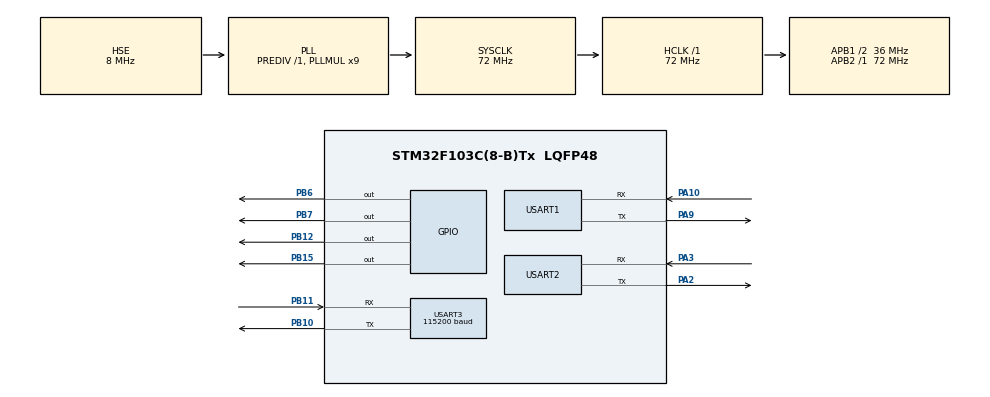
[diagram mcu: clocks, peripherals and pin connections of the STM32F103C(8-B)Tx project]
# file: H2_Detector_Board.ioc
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IWDG.Prescaler=IWDG_PRESCALER_64
Mcu.Family=STM32F1
Mcu.Name=STM32F103C(8-B)Tx
Mcu.Package=LQFP48
NVIC.PriorityGroup=NVIC_PRIORITYGROUP_4
NVIC.TIM2_IRQn=true\:0\:0\:true\:false\:true\:true\:true\:true
NVIC.USART1_IRQn=true\:0\:0\:false\:false\:true\:true\:true\:true
NVIC.USART3_IRQn=true\:0\:0\:false\:false\:true\:true\:true\:true
PA10.Mode=Asynchronous
PA10.Signal=USART1_RX
PA13.Mode=Serial_Wire
PA13.Signal=SYS_JTMS-SWDIO
PA14.Mode=Serial_Wire
PA14.Signal=SYS_JTCK-SWCLK
PA2.Mode=Asynchronous
PA2.Signal=USART2_TX
PA3.Mode=Asynchronous
PA3.Signal=USART2_RX
PA9.Mode=Asynchronous
PA9.Signal=USART1_TX
PB10.Mode=Asynchronous
PB10.Signal=USART3_TX
PB11.Mode=Asynchronous
PB11.Signal=USART3_RX
PB12.Signal=GPIO_Output
PB15.Signal=GPIO_Output
PB6.Signal=GPIO_Output
PB7.Signal=GPIO_Output
PD0-OSC_IN.Mode=HSE-External-Oscillator
PD0-OSC_IN.Signal=RCC_OSC_IN
PD1-OSC_OUT.Mode=HSE-External-Oscillator
PD1-OSC_OUT.Signal=RCC_OSC_OUT
ProjectManager.HeapSize=0x200
ProjectManager.StackSize=0x400
ProjectManager.TargetToolchain=STM32CubeIDE
RCC.ADCPresc=RCC_ADCPCLK2_DIV8
RCC.AHBFreq_Value=72000000
RCC.APB1CLKDivider=RCC_HCLK_DIV2
RCC.APB1Freq_Value=36000000
RCC.APB1TimFreq_Value=72000000
RCC.APB2Freq_Value=72000000
RCC.APB2TimFreq_Value=72000000
RCC.HCLKFreq_Value=72000000
RCC.PLLMUL=RCC_PLL_MUL9
RCC.PLLSourceVirtual=RCC_PLLSOURCE_HSE
RCC.SYSCLKFreq_VALUE=72000000
RCC.SYSCLKSource=RCC_SYSCLKSOURCE_PLLCLK
RCC.USBFreq_Value=72000000
TIM2.AutoReloadPreload=TIM_AUTORELOAD_PRELOAD_ENABLE
TIM2.Period=999
TIM2.Prescaler=71
USART1.VirtualMode=VM_ASYNC
USART2.VirtualMode=VM_ASYNC
USART3.BaudRate=115200
USART3.VirtualMode=VM_ASYNC
VP_IWDG_VS_IWDG.Mode=IWDG_Activate
VP_TIM2_VS_ClockSourceINT.Mode=Internal
board=custom

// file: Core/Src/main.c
/* USER CODE BEGIN Header */
/**
  ******************************************************************************
  * @file           : main.c
  * @brief          : Main program body
  ******************************************************************************
  * @attention
  *
  * <h2><center>&copy; Copyright (c) 2021 STMicroelectronics.
  * All rights reserved.</center></h2>
  *
  * This software component is licensed by ST under BSD 3-Clause license,
  * the "License"; You may not use this file except in compliance with the
  * License. You may obtain a copy of the License at:
  *                        opensource.org/licenses/BSD-3-Clause
  *
  ******************************************************************************
  */
/* USER CODE END Header */
#include "main.h"

/* USER CODE BEGIN Includes */
#include <string.h>
#include <stdio.h>
#include <stdlib.h>
#include <math.h>
/* USER CODE END Includes */

/* USER CODE BEGIN PTD */
#define RING_SIZE 50
#define BUF_SIZE  200

#define	SSID	"H2SENSOR"
#define	PASSWD	"xxxxxxxx"
#define PROTOCOL	"TCP"
#define SEV_IP	"192.168.0.5"

#define DEBUG   0
/* USER CODE END PTD */

/* USER CODE BEGIN PD */
#define DATA_SIZE  24
/* USER CODE END PD */

IWDG_HandleTypeDef hiwdg;

TIM_HandleTypeDef htim2;

UART_HandleTypeDef huart1;
UART_HandleTypeDef huart2;
UART_HandleTypeDef huart3;

/* USER CODE BEGIN PV */
//uint8_t slave_buffer_tx[]="This is slave tx data ";

/* USER CODE END PV */

void SystemClock_Config(void);
static void MX_GPIO_Init(void);
static void MX_TIM2_Init(void);
static void MX_USART3_UART_Init(void);
static void MX_USART1_UART_Init(void);
static void MX_USART2_UART_Init(void);
static void MX_IWDG_Init(void);

/* USER CODE BEGIN 0 */

unsigned int weather_count=0;
int overflow_flag=0;
int overflow_front_size=0;
uint8_t wh_flag=0;
uint8_t ret = 0;
uint8_t ready_flag=0;

uint32_t count=0;
uint32_t odd=0;
char buff_wh[100]={0,};
char parse[6][7]={0,};

uint32_t cnt=0;
uint32_t reset_cnt=0;
uint8_t rx_completed=0;
//uint8_t missing_count=0;

// for modbus request Address 32   {01}{03}{00}{20}{00}{02}{C5}{C1}  => {01}{03}{04}{00}{00}{7F}{80}{DB}{A3}
//uint8_t request[8]={0x01,0x03,0x00,0x20,0x00,0x02,0xc5,0xc1};   //resistor version
//uint8_t request[8]={0x01,0x03,0x00,0x1e,0x00,0x02,0xa4,0x0d};   // h2 voltage version
uint8_t request[8]={0x01,0x03,0x00,0x1c,0x00,0x02,0x05,0xcd};   // r2 voltage version
uint8_t vdata[9]={0,};

uint16_t txLen = 0;

uint8_t rcvFlag = 0;
uint8_t sndFlag = 0;

uint8_t rcvDat;
uint8_t rcvDat1;

uint8_t  ring_buffer[RING_SIZE];
uint32_t  ring_ptr_head = 0;
uint32_t  ring_ptr_tail = 0;

uint8_t  ring_buffer1[RING_SIZE];
uint32_t  ring_ptr_head1 = 0;
uint32_t  ring_ptr_tail1 = 0;

uint8_t h2_buffer[BUF_SIZE]={0,};
uint32_t value[2]={0,0};
uint8_t state=0;
uint8_t byte_count=0;
uint8_t ppm_data[20]={0,};
uint8_t data_count=0;
uint8_t emptyFlag =0;
uint8_t compare_cnt=0;

typedef union
{
	float fVal;
	unsigned long hex;
}H2VAL;

H2VAL h2_val;
uint16_t adc_val=3000;
char x_value[8]={0,};
char strADC[7]={0,};

float temp=0.0;
float humi=0.0;

void request_value(UART_HandleTypeDef *huart)
{

}

void increase_ptr(uint32_t * data_ptr)
{
    (* data_ptr)++;
    if(RING_SIZE <= (* data_ptr))
    {
        (* data_ptr) = 0;
    }
}

void Clean(void){
	for(int j=0;j< RING_SIZE; j++) ring_buffer[j]=0;
	ring_ptr_head = 0;
	ring_ptr_tail = 0;
}

void Clean1(void){
	for(int j=0;j< RING_SIZE; j++) ring_buffer1[j]=0;
	ring_ptr_head1 = 0;
	ring_ptr_tail1 = 0;
}

void EnQ(uint8_t data)
{
    ring_buffer[ring_ptr_head] = data;
    increase_ptr(&ring_ptr_head);
}

void EnQ_1(uint8_t data)
{
    ring_buffer1[ring_ptr_head1] = data;
    increase_ptr(&ring_ptr_head1);
}

uint8_t DeQ(void)
{

    uint8_t retVal = ring_buffer[ring_ptr_tail];
    increase_ptr(&ring_ptr_tail);

    return retVal;
}

uint8_t DeQ_1(void)
{
    uint8_t retVal = ring_buffer1[ring_ptr_tail1];
    increase_ptr(&ring_ptr_tail1);
    return retVal;
}

int _write(int file, unsigned char* p, int len)
{
	//HAL_UART_Transmit(&huart3, p, len, 10);
	return len;
}

void HAL_UART_RxCpltCallback(UART_HandleTypeDef *huart)
{
	if(huart -> Instance == huart1.Instance)
	{

		EnQ_1(rcvDat1);
		HAL_UART_Receive_IT(&huart1, &rcvDat1, 1);

	}

	if(huart -> Instance == huart3.Instance)
	{
		EnQ(rcvDat);
		HAL_UART_Receive_IT(&huart3, &rcvDat, 1);
	}

}

uint8_t compare(const char * str, uint8_t len){
	uint8_t result=0;

	char dat[20]={0,};
	for(int k=0;k<20;k++) dat[k]=0;
	//HAL_IWDG_Refresh(&hiwdg);
	while(!result){

		//if(DEBUG) HAL_UART_Transmit(&huart2,(uint8_t *)"*",1,HAL_MAX_DELAY);

    	if(DeQ()=='O'){
          dat[0]='O';

		  for(int i=0;i<len-1;i++){
			  dat[i+1]=DeQ();
	       }

		  if(!strncmp(str, dat, len)) result=1;
    	}
    	else continue;
     }
	 //HAL_IWDG_Refresh(&hiwdg);
	 return 1;
}

uint8_t compare_OK(const char * str, uint8_t len){
	uint8_t result=0;
	compare_cnt=0;

	char dat[20]={0,};
	for(int k=0;k<20;k++) dat[k]=0;
	//HAL_IWDG_Refresh(&hiwdg);
	while(!result){
		compare_cnt++;
		if(compare_cnt > 42){
			result=1;
			//missing_count++;
		}
		//if(DEBUG)HAL_UART_Transmit(&huart2,(uint8_t *)"*",1,HAL_MAX_DELAY);

    	if(DeQ()=='O'){
          dat[0]='O';

		  for(int i=0;i<len-1;i++){
			  dat[i+1]=DeQ();
	       }

		  if(!strncmp(str, dat, len)) result=1;
    	}
    	else continue;
     }
	 //HAL_IWDG_Refresh(&hiwdg);
	 return 1;
}

uint8_t parsing(){

	int len_buf=0;
	 // HAL_GPIO_WritePin(GPIOB, GPIO_PIN_12, GPIO_PIN_RESET);
    if(ring_ptr_head1 < ring_ptr_tail1)
	{
    	len_buf= RING_SIZE-ring_ptr_tail1;
		for(int i=0;i<len_buf; i++)
		 {
			h2_buffer[i]=DeQ_1();
			//HAL_UART_Transmit(&huart3,&h2_buffer[i],1,HAL_MAX_DELAY);
		 }
		overflow_flag=1;
		overflow_front_size=len_buf;
		len_buf=ring_ptr_head1;
		ring_ptr_tail1=0;
	}

	else
	{

		len_buf= (int)(ring_ptr_head1 - ring_ptr_tail1)/sizeof(uint8_t);

	}

   // HAL_IWDG_Refresh(&hiwdg);

	if(len_buf >= BUF_SIZE)
	{
	  for(int h=0;h<BUF_SIZE;h++)
	  {
		  h2_buffer[h]=0;
		  DeQ_1();
	  }
	  len_buf=0;
    }

	//memset(h2_buffer, 0, BUF_SIZE);

	for(int i=0;i<len_buf; i++)
	 {
		if(overflow_flag==1){
			h2_buffer[i+overflow_front_size]=DeQ_1();
			//if(DEBUG)HAL_UART_Transmit(&huart2,(uint8_t *)"ov\r\n",4,HAL_MAX_DELAY);
		}
		else{
			h2_buffer[i]=DeQ_1();
		}
	 }

	 // if(DEBUG)HAL_UART_Transmit(&huart2,(uint8_t *)"gg\r\n",4,HAL_MAX_DELAY);
}

void HAL_TIM_PeriodElapsedCallback(TIM_HandleTypeDef *htim)
{
	 count++;
     odd ^=1;
	 if(count > 500 ){
		 count=0;
		if(odd){
		  HAL_GPIO_WritePin(GPIOB, GPIO_PIN_6, GPIO_PIN_RESET);
		  Clean1();
		  HAL_GPIO_WritePin(GPIOB, GPIO_PIN_15, GPIO_PIN_SET);
 		  HAL_UART_Transmit(&huart1,(uint8_t *)request,8,HAL_MAX_DELAY);
 		  HAL_GPIO_WritePin(GPIOB, GPIO_PIN_15, GPIO_PIN_RESET);
			HAL_GPIO_WritePin(GPIOB, GPIO_PIN_7, GPIO_PIN_SET);
 		  count=0;
		}
		else{
			HAL_GPIO_WritePin(GPIOB, GPIO_PIN_6, GPIO_PIN_SET);
			HAL_GPIO_WritePin(GPIOB, GPIO_PIN_7, GPIO_PIN_RESET);
			parsing();
		}
	 }

}

/* USER CODE END 0 */

int main(void)
{

  /* MCU Configuration--------------------------------------------------------*/

  /* Reset of all peripherals, Initializes the Flash interface and the Systick. */
  HAL_Init();

  /* Configure the system clock */
  SystemClock_Config();

  /* Initialize all configured peripherals */
  MX_GPIO_Init();
  MX_TIM2_Init();
  MX_USART3_UART_Init();
  MX_USART1_UART_Init();
  MX_USART2_UART_Init();
  MX_IWDG_Init();
  /* USER CODE BEGIN 2 */
  ready_flag=0;

  HAL_GPIO_WritePin(GPIOB, GPIO_PIN_12, GPIO_PIN_SET);
  HAL_GPIO_WritePin(GPIOB, GPIO_PIN_6, GPIO_PIN_SET);
  HAL_GPIO_WritePin(GPIOB, GPIO_PIN_7, GPIO_PIN_SET);
  HAL_TIM_Base_Start_IT(&htim2);

  //HAL_ADC_Start_DMA(&hadc1, value, 2);

  //sprintf(x_value,"%7d",adc_val);

  Clean();
  HAL_UART_Receive_IT(&huart3, &rcvDat, 1);
  HAL_UART_Receive_IT(&huart1, &rcvDat1, 1);

  Clean();
  //HAL_GPIO_WritePin(GPIOB, GPIO_PIN_15, GPIO_PIN_SET);
  //HAL_UART_Transmit(&huart1,(uint8_t *)"Initialize..\r\n",14,HAL_MAX_DELAY);
  //HAL_GPIO_WritePin(GPIOB, GPIO_PIN_15, GPIO_PIN_RESET);

  Clean();
  HAL_IWDG_Refresh(&hiwdg);
  HAL_UART_Transmit(&huart3,(uint8_t *)"AT+RST\r\n",8,HAL_MAX_DELAY);
  HAL_Delay(1000);
  HAL_IWDG_Refresh(&hiwdg);
  HAL_Delay(1000);
  HAL_IWDG_Refresh(&hiwdg);
  HAL_Delay(1000);
  HAL_IWDG_Refresh(&hiwdg);
  HAL_Delay(1000);
  HAL_IWDG_Refresh(&hiwdg);
  HAL_Delay(1000);
  HAL_IWDG_Refresh(&hiwdg);
  HAL_Delay(1000);
  HAL_IWDG_Refresh(&hiwdg);
  Clean();
  while(1){
  ret=0;
  Clean();
  //HAL_GPIO_WritePin(GPIOB, GPIO_PIN_15, GPIO_PIN_SET);
  //HAL_UART_Transmit(&huart1,(uint8_t *)"Sending AT..\r\n",14,HAL_MAX_DELAY);     // AT TEST
  //HAL_GPIO_WritePin(GPIOB, GPIO_PIN_15, GPIO_PIN_RESET);
  Clean();
  HAL_UART_Transmit(&huart3,(uint8_t *)"AT\r\n",4,HAL_MAX_DELAY);
  ret=compare("OK\r\n",4);
  if(ret) break;
  }
  HAL_GPIO_WritePin(GPIOB, GPIO_PIN_15, GPIO_PIN_SET);
  //HAL_UART_Transmit(&huart1,(uint8_t *)"AT OK!\r\n",8,HAL_MAX_DELAY);
  HAL_GPIO_WritePin(GPIOB, GPIO_PIN_15, GPIO_PIN_RESET);
  HAL_IWDG_Refresh(&hiwdg);
  HAL_Delay(200);

  HAL_IWDG_Refresh(&hiwdg);

  Clean();
  while(1){
  ret=0;
  //HAL_GPIO_WritePin(GPIOB, GPIO_PIN_15, GPIO_PIN_SET);
  //HAL_UART_Transmit(&huart1,(uint8_t *)"Setting Mode..\r\n",16,HAL_MAX_DELAY);    // Mode setting => station
  //HAL_GPIO_WritePin(GPIOB, GPIO_PIN_15, GPIO_PIN_RESET);
  Clean();
  HAL_UART_Transmit(&huart3,(uint8_t *)"AT+CWMODE=1\r\n",13,HAL_MAX_DELAY);
  HAL_IWDG_Refresh(&hiwdg);
  ret=compare("OK\r\n",4);
  if(ret) break;
  }
  //HAL_GPIO_WritePin(GPIOB, GPIO_PIN_15, GPIO_PIN_SET);
  //HAL_UART_Transmit(&huart1,(uint8_t *)"MODE OK!\r\n",10,HAL_MAX_DELAY);
  //HAL_GPIO_WritePin(GPIOB, GPIO_PIN_15, GPIO_PIN_RESET);
  HAL_Delay(200);

  HAL_IWDG_Refresh(&hiwdg);

  Clean();
  while(1){
  ret=0;
  char tmpData[40]={0,};
  //HAL_GPIO_WritePin(GPIOB, GPIO_PIN_15, GPIO_PIN_SET);
  // HAL_UART_Transmit(&huart1,(uint8_t *)"Connecting AP..\r\n",17,HAL_MAX_DELAY);
  //HAL_GPIO_WritePin(GPIOB, GPIO_PIN_15, GPIO_PIN_RESET);
  sprintf (tmpData, "AT+CWJAP_CUR=\"%s\",\"%s\"\r\n", SSID, PASSWD);    //AT+CWJAP_CUR="H2SENSOR","tsei1234"
  Clean();
  HAL_UART_Transmit(&huart3,(uint8_t *)tmpData,36,HAL_MAX_DELAY);
  ret=compare("OK\r\n",4);
  if(ret) break;
  }
  //HAL_GPIO_WritePin(GPIOB, GPIO_PIN_15, GPIO_PIN_SET);
 // HAL_UART_Transmit(&huart1,(uint8_t *)"Connect OK!\r\n",13,HAL_MAX_DELAY);
  //HAL_GPIO_WritePin(GPIOB, GPIO_PIN_15, GPIO_PIN_RESET);
  HAL_Delay(200);

  HAL_IWDG_Refresh(&hiwdg);

  Clean();
  while(1){
  ret=0;
  // HAL_GPIO_WritePin(GPIOB, GPIO_PIN_15, GPIO_PIN_SET);
  //HAL_UART_Transmit(&huart1,(uint8_t *)"Set Multiple..\r\n",16,HAL_MAX_DELAY);    // Mode setting => station
  //HAL_GPIO_WritePin(GPIOB, GPIO_PIN_15, GPIO_PIN_RESET);
  Clean();
  HAL_IWDG_Refresh(&hiwdg);
  HAL_UART_Transmit(&huart3,(uint8_t *)"AT+CIPMUX=0\r\n",13,HAL_MAX_DELAY);   // if multimode, link id is need when using sending commands
  ret=compare("OK\r\n",4);
  if(ret) break;
  }
  //HAL_GPIO_WritePin(GPIOB, GPIO_PIN_15, GPIO_PIN_SET);
 // HAL_UART_Transmit(&huart1,(uint8_t *)"Single OK!\r\n",12,HAL_MAX_DELAY);
  //HAL_GPIO_WritePin(GPIOB, GPIO_PIN_15, GPIO_PIN_RESET);
  HAL_Delay(100);

  HAL_IWDG_Refresh(&hiwdg);

  Clean();
  while(1){
  ret=0;
  char tmpStr[50]={0,};
  Clean();
  //HAL_GPIO_WritePin(GPIOB, GPIO_PIN_15, GPIO_PIN_SET);
  //HAL_UART_Transmit(&huart1,(uint8_t *)"SET TCP..\r\n",11,HAL_MAX_DELAY);
  //HAL_GPIO_WritePin(GPIOB, GPIO_PIN_15, GPIO_PIN_RESET);
  sprintf (tmpStr, "AT+CIPSTART=\"%s\",\"%s\",5000\r\n", PROTOCOL, SEV_IP);  //AT+CIPSTART=0,"TCP","192.168.0.5",3306\r\n
  Clean();
  HAL_IWDG_Refresh(&hiwdg);
  HAL_UART_Transmit(&huart3,(uint8_t *)tmpStr,38,HAL_MAX_DELAY);
  ret=compare("OK\r\n",4);
  if(ret) break;
  }
  HAL_IWDG_Refresh(&hiwdg);
  //HAL_GPIO_WritePin(GPIOB, GPIO_PIN_15, GPIO_PIN_SET);
  //HAL_UART_Transmit(&huart1,(uint8_t *)"TCP OK!\r\n",9,HAL_MAX_DELAY);
   //HAL_GPIO_WritePin(GPIOB, GPIO_PIN_15, GPIO_PIN_RESET);
  HAL_Delay(200);

  /* USER CODE END 2 */

  /* Infinite loop */
  while (1)
  {

    /* USER CODE BEGIN 3 */
	  //if(missing_count>10) while(1);
      HAL_IWDG_Refresh(&hiwdg);
	  Clean();

	  h2_val.hex = (h2_buffer[5] <<24) | (h2_buffer[6] << 16) | (h2_buffer[3] << 8) | (h2_buffer[4]) ;
	  sprintf(x_value,"%6.4f\r\n",(h2_val.fVal));  //3.2345   in terms of voltage value
	 // sprintf(x_value,"%7d\r\n",(h2_val.fVal));  //152445   in terms of sensor resister value

	  while(1){
		  ret=0;

		  //if(DEBUG)HAL_UART_Transmit(&huart2,(uint8_t *)"h1\r\n",4,HAL_MAX_DELAY);    // Mode setting => station

		  Clean();
		  HAL_UART_Transmit(&huart3,(uint8_t *)"AT+CIPSEND=6\r\n",14,HAL_MAX_DELAY);

		  //if(DEBUG)HAL_UART_Transmit(&huart2,(uint8_t *)"h2\r\n",4,HAL_MAX_DELAY);
		  while(DeQ()!='>'){
			if (ring_ptr_tail >= ring_ptr_head) break;
		 }
		  HAL_Delay(200);
		 // if(DEBUG)HAL_UART_Transmit(&huart2,(uint8_t *)"h3\r\n",4,HAL_MAX_DELAY);
		  HAL_IWDG_Refresh(&hiwdg);

		  Clean();
		  HAL_UART_Transmit(&huart3,(uint8_t *)x_value,8,HAL_MAX_DELAY);
		  HAL_GPIO_WritePin(GPIOB, GPIO_PIN_12, GPIO_PIN_RESET);

		  HAL_UART_Transmit(&huart2,(uint8_t *)x_value,8,HAL_MAX_DELAY);
		  HAL_Delay(300);
		  //if(DEBUG)HAL_UART_Transmit(&huart2,(uint8_t *)"h5\r\n",4,HAL_MAX_DELAY);
		  ret=compare_OK("OK\r\n",4);
		  //if(DEBUG)HAL_UART_Transmit(&huart2,(uint8_t *)"h6\r\n",4,HAL_MAX_DELAY);

		  HAL_GPIO_WritePin(GPIOB, GPIO_PIN_12, GPIO_PIN_SET);
		  if(ret) break;
       }

	  HAL_Delay(490);
  }
  /* USER CODE END 3 */
}

void SystemClock_Config(void)
{
  RCC_OscInitTypeDef RCC_OscInitStruct = {0};
  RCC_ClkInitTypeDef RCC_ClkInitStruct = {0};

  /** Initializes the RCC Oscillators according to the specified parameters
  * in the RCC_OscInitTypeDef structure.
  */
  RCC_OscInitStruct.OscillatorType = RCC_OSCILLATORTYPE_LSI|RCC_OSCILLATORTYPE_HSE;
  RCC_OscInitStruct.HSEState = RCC_HSE_ON;
  RCC_OscInitStruct.HSEPredivValue = RCC_HSE_PREDIV_DIV1;
  RCC_OscInitStruct.HSIState = RCC_HSI_ON;
  RCC_OscInitStruct.LSIState = RCC_LSI_ON;
  RCC_OscInitStruct.PLL.PLLState = RCC_PLL_ON;
  RCC_OscInitStruct.PLL.PLLSource = RCC_PLLSOURCE_HSE;
  RCC_OscInitStruct.PLL.PLLMUL = RCC_PLL_MUL9;
  if (HAL_RCC_OscConfig(&RCC_OscInitStruct) != HAL_OK)
  {
    Error_Handler();
  }
  /** Initializes the CPU, AHB and APB buses clocks
  */
  RCC_ClkInitStruct.ClockType = RCC_CLOCKTYPE_HCLK|RCC_CLOCKTYPE_SYSCLK
                              |RCC_CLOCKTYPE_PCLK1|RCC_CLOCKTYPE_PCLK2;
  RCC_ClkInitStruct.SYSCLKSource = RCC_SYSCLKSOURCE_PLLCLK;
  RCC_ClkInitStruct.AHBCLKDivider = RCC_SYSCLK_DIV1;
  RCC_ClkInitStruct.APB1CLKDivider = RCC_HCLK_DIV2;
  RCC_ClkInitStruct.APB2CLKDivider = RCC_HCLK_DIV1;

  if (HAL_RCC_ClockConfig(&RCC_ClkInitStruct, FLASH_LATENCY_2) != HAL_OK)
  {
    Error_Handler();
  }
}

static void MX_IWDG_Init(void)
{

  hiwdg.Instance = IWDG;
  hiwdg.Init.Prescaler = IWDG_PRESCALER_64;
  hiwdg.Init.Reload = 4095;
  if (HAL_IWDG_Init(&hiwdg) != HAL_OK)
  {
    Error_Handler();
  }

}

static void MX_TIM2_Init(void)
{

  TIM_ClockConfigTypeDef sClockSourceConfig = {0};
  TIM_MasterConfigTypeDef sMasterConfig = {0};

  htim2.Instance = TIM2;
  htim2.Init.Prescaler = 71;
  htim2.Init.CounterMode = TIM_COUNTERMODE_UP;
  htim2.Init.Period = 999;
  htim2.Init.ClockDivision = TIM_CLOCKDIVISION_DIV1;
  htim2.Init.AutoReloadPreload = TIM_AUTORELOAD_PRELOAD_ENABLE;
  if (HAL_TIM_Base_Init(&htim2) != HAL_OK)
  {
    Error_Handler();
  }
  sClockSourceConfig.ClockSource = TIM_CLOCKSOURCE_INTERNAL;
  if (HAL_TIM_ConfigClockSource(&htim2, &sClockSourceConfig) != HAL_OK)
  {
    Error_Handler();
  }
  sMasterConfig.MasterOutputTrigger = TIM_TRGO_RESET;
  sMasterConfig.MasterSlaveMode = TIM_MASTERSLAVEMODE_DISABLE;
  if (HAL_TIMEx_MasterConfigSynchronization(&htim2, &sMasterConfig) != HAL_OK)
  {
    Error_Handler();
  }

}

static void MX_USART1_UART_Init(void)
{

  huart1.Instance = USART1;
  huart1.Init.BaudRate = 115200;
  huart1.Init.WordLength = UART_WORDLENGTH_8B;
  huart1.Init.StopBits = UART_STOPBITS_1;
  huart1.Init.Parity = UART_PARITY_NONE;
  huart1.Init.Mode = UART_MODE_TX_RX;
  huart1.Init.HwFlowCtl = UART_HWCONTROL_NONE;
  huart1.Init.OverSampling = UART_OVERSAMPLING_16;
  if (HAL_UART_Init(&huart1) != HAL_OK)
  {
    Error_Handler();
  }

}

static void MX_USART2_UART_Init(void)
{

  huart2.Instance = USART2;
  huart2.Init.BaudRate = 115200;
  huart2.Init.WordLength = UART_WORDLENGTH_8B;
  huart2.Init.StopBits = UART_STOPBITS_1;
  huart2.Init.Parity = UART_PARITY_NONE;
  huart2.Init.Mode = UART_MODE_TX_RX;
  huart2.Init.HwFlowCtl = UART_HWCONTROL_NONE;
  huart2.Init.OverSampling = UART_OVERSAMPLING_16;
  if (HAL_UART_Init(&huart2) != HAL_OK)
  {
    Error_Handler();
  }

}

static void MX_USART3_UART_Init(void)
{

  huart3.Instance = USART3;
  huart3.Init.BaudRate = 115200;
  huart3.Init.WordLength = UART_WORDLENGTH_8B;
  huart3.Init.StopBits = UART_STOPBITS_1;
  huart3.Init.Parity = UART_PARITY_NONE;
  huart3.Init.Mode = UART_MODE_TX_RX;
  huart3.Init.HwFlowCtl = UART_HWCONTROL_NONE;
  huart3.Init.OverSampling = UART_OVERSAMPLING_16;
  if (HAL_UART_Init(&huart3) != HAL_OK)
  {
    Error_Handler();
  }

}

static void MX_GPIO_Init(void)
{
  GPIO_InitTypeDef GPIO_InitStruct = {0};

  /* GPIO Ports Clock Enable */
  __HAL_RCC_GPIOD_CLK_ENABLE();
  __HAL_RCC_GPIOA_CLK_ENABLE();
  __HAL_RCC_GPIOB_CLK_ENABLE();

  /*Configure GPIO pin Output Level */
  HAL_GPIO_WritePin(GPIOB, GPIO_PIN_12|GPIO_PIN_15|GPIO_PIN_6|GPIO_PIN_7, GPIO_PIN_RESET);

  /*Configure GPIO pins : PB12 PB15 PB6 PB7 */
  GPIO_InitStruct.Pin = GPIO_PIN_12|GPIO_PIN_15|GPIO_PIN_6|GPIO_PIN_7;
  GPIO_InitStruct.Mode = GPIO_MODE_OUTPUT_PP;
  GPIO_InitStruct.Pull = GPIO_NOPULL;
  GPIO_InitStruct.Speed = GPIO_SPEED_FREQ_LOW;
  HAL_GPIO_Init(GPIOB, &GPIO_InitStruct);

}

void Error_Handler(void)
{
  __disable_irq();
  while (1)
  {
  }
}

/************************ (C) COPYRIGHT STMicroelectronics *****END OF FILE****/
